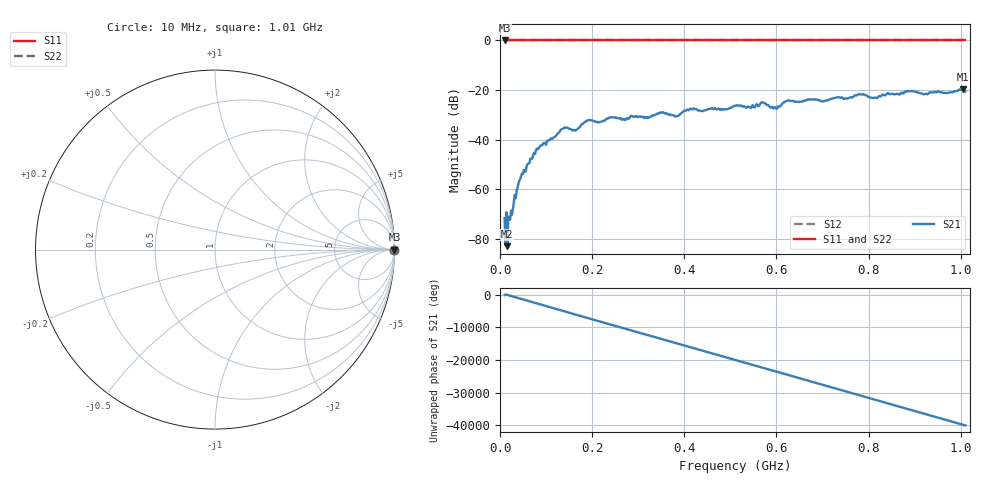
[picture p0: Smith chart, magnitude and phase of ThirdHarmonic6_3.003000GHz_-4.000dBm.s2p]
! 8/17/2025 8:35:28 AM
! C:\ANRITSUVNA\TEMP\TEMP.S2P
! CHANNEL.1
! TR.MEASUREMENT
! RAW.DATA
! RF.CORRECTION.OFF
! AVERAGING.OFF
! IF.BANDWIDTH: 5KHZ
! SWEEPTYPE:  FREQ.SWEEP(Linear)
! Reference Plane Port Info
! PORT:  PORT1  PORT2
! DISTANCE:  0  m  0  m
! TIME:  0  s  0  s
! PHASE.OFFSET:  0  deg.  0  deg.
! LOSS:  0  dB  0  dB
! REF.LOSS:  0  dB  0  dB
! REF.FREQ:  0  Hz  0  Hz
! Power Info
! POWER:  -20  dBm  -20  dBm
! EFF.POWER:  -20  dBm  -20  dBm
! SOURCE.ATTEN:  0  dB  0  dB
! TEST.ATTEN:  0  dB  0  dB
# GHZ S RI R 50.0
! FREQ.GHZ  S11RE  S11IM  S21RE  S21IM  S12RE  S12IM  S22RE  S22IM
!; PortSelection: Port_12
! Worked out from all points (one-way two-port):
!   501 points, 10 MHz to 1.01 GHz, reference 50 ohm
!   highest |S21| = -19.66 dB at 1.004 GHz (marker M1); lowest = -82.8 dB at 16 MHz (marker M2)
!   lowest |S11| = 0.0 dB at 10 MHz (marker M3)
!   |S11| at or under -10 dB: nowhere
!   |S22| runs from 0.0 to 0.0 dB; largest |S21 - S12| = 1.1
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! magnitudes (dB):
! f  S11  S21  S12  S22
! 10 MHz  0.0  -71.6  0.0  0.0
! 16 MHz  0.0  -82.8  0.0  0.0
! 44 MHz  0.0  -55.8  0.0  0.0
! 76 MHz  0.0  -45.8  0.0  0.0
! 136 MHz  0.0  -35.6  0.0  0.0
! 162 MHz  0.0  -36.1  0.0  0.0
! 178 MHz  0.0  -33.8  0.0  0.0
! 192 MHz  0.0  -32.1  0.0  0.0
! 318 MHz  0.0  -31.1  0.0  0.0
! 344 MHz  0.0  -29.5  0.0  0.0
! 382 MHz  0.0  -30.5  0.0  0.0
! 416 MHz  0.0  -27.7  0.0  0.0
! 510 MHz  0.0  -26.3  0.0  0.0
! 570 MHz  0.0  -24.9  0.0  0.0
! 598 MHz  0.0  -27.0  0.0  0.0
! 624 MHz  0.0  -24.2  0.0  0.0
! 678 MHz  0.0  -23.7  0.0  0.0
! 782 MHz  0.0  -21.7  0.0  0.0
! 814 MHz  0.0  -23.0  0.0  0.0
! 844 MHz  0.0  -21.5  0.0  0.0
! 1.004 GHz  0.0  -19.7  0.0  0.0
! 1.01 GHz  0.0  -20.5  0.0  0.0
